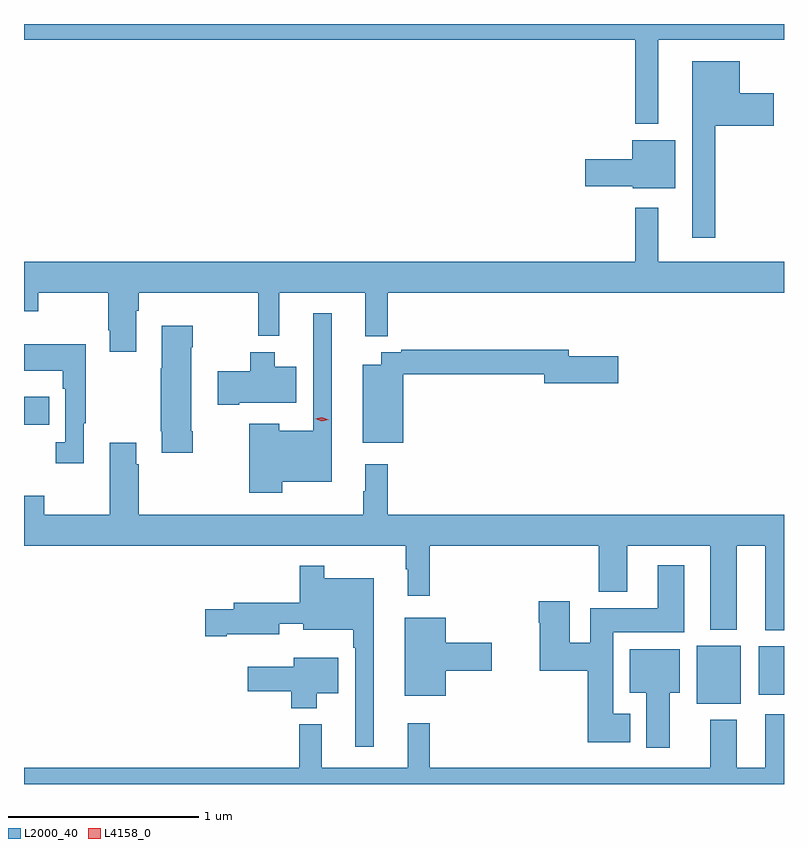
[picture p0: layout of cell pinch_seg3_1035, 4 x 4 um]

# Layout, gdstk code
import gdstk
lib = gdstk.Library(unit=1e-6, precision=1e-09)
def R(c, l, rs):  # rectangles x0, y0, x1, y1
    for r in rs: c.add(gdstk.rectangle(r[:2], r[2:], *l))
def P(c, l, *ps):  # polygons
    for p in ps: c.add(gdstk.Polygon(p, *l))
L2000_40 = (2000, 40)
L4158_0 = (4158, 0)

pinch_seg3_1035 = lib.new_cell('pinch_seg3_1035')
R(pinch_seg3_1035, L2000_40, [(349.295,721.397,349.528,721.702), (349.622,721.445,349.755,721.699), (345.755,722.866,345.887,723.013)])
P(pinch_seg3_1035, L2000_40, [(349.093,724.892),(349.755,724.892),(349.755,724.974),(345.755,724.974),(345.755,724.892),(348.972,724.892),(348.972,724.448),(349.093,724.448)],
  [(349.393,724.439),(349.702,724.439),(349.702,724.609),(349.522,724.609),(349.522,724.777),(349.271,724.777),(349.271,723.849),(349.393,723.849)],
  [(349.183,724.363),(348.956,724.363),(348.956,724.262),(348.708,724.262),(348.708,724.12),(348.96,724.12),(348.96,724.109),(349.183,724.109)],
  [(346.345,723.464),(346.358,723.464),(346.358,723.56),(346.989,723.56),(346.989,723.332),(347.099,723.332),(347.099,723.56),(347.552,723.56),(347.552,723.331),(347.669,723.331),(347.669,723.56),(349.755,723.56),(349.755,723.724),(349.093,723.724),(349.093,724.006),(348.972,724.006),(348.972,723.724),(345.755,723.724),(345.755,723.461),(345.831,723.461),(345.831,723.56),(346.198,723.56),(346.198,723.361),(346.205,723.361),(346.205,723.249),(346.345,723.249)],
  [(347.115,722.564),(347.374,722.564),(347.374,723.451),(347.277,723.451),(347.277,722.833),(347.098,722.833),(347.098,722.869),(346.94,722.869),(346.94,722.507),(347.115,722.507)],
  [(346.644,722.83),(346.636,722.83),(346.636,723.272),(346.644,723.272),(346.644,723.385),(346.481,723.385),(346.481,723.161),(346.474,723.161),(346.474,722.83),(346.481,722.83),(346.481,722.718),(346.644,722.718)],
  [(346.069,722.873),(346.081,722.873),(346.081,723.289),(345.755,723.289),(345.755,723.149),(345.96,723.149),(345.96,723.053),(345.972,723.053),(345.972,722.774),(345.921,722.774),(345.921,722.661),(346.069,722.661)],
  [(347.752,723.13),(348.494,723.13),(348.494,723.083),(348.883,723.083),(348.883,723.225),(348.622,723.225),(348.622,723.259),(347.74,723.259),(347.74,723.246),(347.636,723.246),(347.636,723.181),(347.537,723.181),(347.537,722.771),(347.752,722.771)],
  [(346.888,722.981),(347.188,722.981),(347.188,723.169),(347.074,723.169),(347.074,723.247),(346.945,723.247),(346.945,723.147),(346.776,723.147),(346.776,722.969),(346.888,722.969)],
  [(349.755,722.392),(347.669,722.392),(347.669,722.656),(347.552,722.656),(347.552,722.516),(347.541,722.516),(347.541,722.392),(346.358,722.392),(346.358,722.657),(346.345,722.657),(346.345,722.77),(346.205,722.77),(346.205,722.392),(345.861,722.392),(345.861,722.491),(345.755,722.491),(345.755,722.228),(347.763,722.228),(347.763,722.105),(347.774,722.105),(347.774,721.965),(347.891,721.965),(347.891,722.228),(348.779,722.228),(348.779,721.985),(348.931,721.985),(348.931,722.228),(349.367,722.228),(349.367,721.787),(349.507,721.787),(349.507,722.228),(349.655,722.228),(349.655,721.784),(349.755,721.784)],
  [(348.946,721.345),(348.856,721.345),(348.856,721.772),(349.231,721.772),(349.231,722.125),(349.091,722.125),(349.091,721.9),(348.734,721.9),(348.734,721.718),(348.628,721.718),(348.628,721.936),(348.463,721.936),(348.463,721.823),(348.47,721.823),(348.47,721.571),(348.722,721.571),(348.722,721.193),(348.946,721.193)],
  [(347.596,722.056),(347.335,722.056),(347.335,722.122),(347.206,722.122),(347.206,721.927),(346.859,721.927),(346.859,721.893),(346.71,721.893),(346.71,721.751),(346.822,721.751),(346.822,721.763),(347.098,721.763),(347.098,721.817),(347.225,721.817),(347.225,721.787),(347.487,721.787),(347.487,721.691),(347.499,721.691),(347.499,721.17),(347.596,721.17)],
  [(347.974,721.571),(348.217,721.571),(348.217,721.718),(347.974,721.718),(347.974,721.849),(347.759,721.849),(347.759,721.439),(347.974,721.439)],
  [(349.153,721.454),(349.207,721.454),(349.207,721.684),(348.944,721.684),(348.944,721.454),(349.031,721.454),(349.031,721.164),(349.153,721.164)],
  [(347.296,721.451),(347.41,721.451),(347.41,721.639),(347.174,721.639),(347.174,721.591),(346.932,721.591),(346.932,721.462),(347.162,721.462),(347.162,721.373),(347.296,721.373)],
  [(349.755,721.342),(349.655,721.342),(349.655,721.06),(349.507,721.06),(349.507,721.312),(349.367,721.312),(349.367,721.06),(347.891,721.06),(347.891,721.294),(347.774,721.294),(347.774,721.06),(347.321,721.06),(347.321,721.288),(347.203,721.288),(347.203,721.06),(345.755,721.06),(345.755,720.974),(349.755,720.974)])
P(pinch_seg3_1035, L4158_0, [(347.322,722.884),(347.287,722.896),(347.287,722.896),(347.287,722.896),(347.323,722.904),(347.358,722.892),(347.359,722.892),(347.358,722.892)])

lib.write_gds('pinch_seg3_1035.gds')
